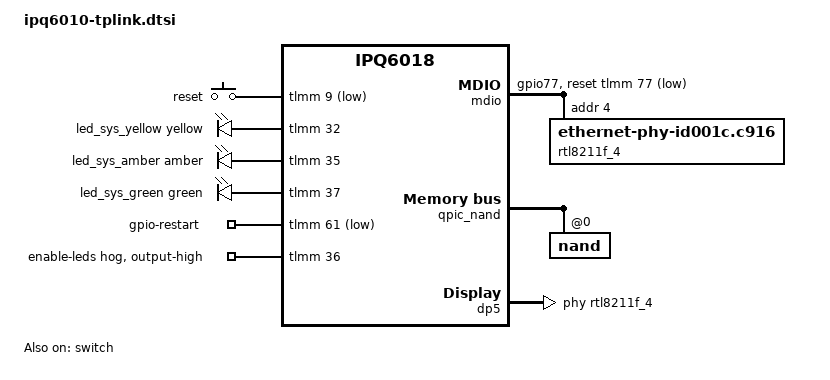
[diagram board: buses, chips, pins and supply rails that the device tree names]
// SPDX-License-Identifier: GPL-2.0-or-later OR MIT

#include "ipq6018.dtsi"
#include "ipq6018-ess.dtsi"
#include "ipq6018-nss.dtsi"
#include "ipq6018-common.dtsi"
#include "ipq6018-cp-cpu.dtsi"

#include <dt-bindings/gpio/gpio.h>
#include <dt-bindings/input/input.h>
#include <dt-bindings/leds/common.h>

/ {
	aliases {
		serial0 = &blsp1_uart3;
		led-boot = &led_sys_green;
		led-failsafe = &led_sys_green;
		led-running = &led_sys_green;
		led-upgrade = &led_sys_green;
	};

	chosen {
		stdout-path = "serial0:115200n8";
		bootargs-append = " root=/dev/ubiblock0_1";
	};

	keys {
		compatible = "gpio-keys";

		reset {
			label = "reset";
			gpios = <&tlmm 9 GPIO_ACTIVE_LOW>;
			linux,code = <KEY_RESTART>;
		};
	};

	leds {
		compatible = "gpio-leds";

		led_sys_yellow: sys-yellow {
			color = <LED_COLOR_ID_YELLOW>;
			function = LED_FUNCTION_STATUS;
			gpios = <&tlmm 32 GPIO_ACTIVE_HIGH>;
		};

		led_sys_amber: sys-amber {
			color = <LED_COLOR_ID_AMBER>;
			function = LED_FUNCTION_STATUS;
			gpios = <&tlmm 35 GPIO_ACTIVE_HIGH>;
		};

		led_sys_green: sys-green {
			color = <LED_COLOR_ID_GREEN>;
			function = LED_FUNCTION_STATUS;
			gpios = <&tlmm 37 GPIO_ACTIVE_HIGH>;
		};
	};

	gpio-restart {
		compatible = "gpio-restart";
		gpios = <&tlmm 61 GPIO_ACTIVE_LOW>;
		open-source;
	};
};

&tlmm {
	phy_reset_pins: phy-reset-pins {
		pins = "gpio77";
		function = "gpio";
		drive-strength = <8>;
		bias-pull-up;
	};

	led_enable {
		gpio-hog;
		output-high;
		gpios = <36 GPIO_ACTIVE_HIGH>;
		line-name = "enable-leds";
	};
};

&mdio {
	status = "okay";

	pinctrl-0 = <&mdio_pins>, <&phy_reset_pins>;
	pinctrl-names = "default";
	reset-gpios = <&tlmm 77 GPIO_ACTIVE_LOW>;

	rtl8211f_4: ethernet-phy@4 {
		compatible = "ethernet-phy-id001c.c916";
		reg = <4>;

		realtek,clkout-disable;
		realtek,aldps-enable;
	};
};

&switch {
	switch_lan_bmp = <ESS_PORT5>;
	switch_mac_mode1 = <MAC_MODE_SGMII_PLUS>;
	status = "okay";

	qcom,port_phyinfo {
		port@5 {
			port_id = <5>;
			phy_address = <4>;
			port_mac_sel = "QGMAC_PORT";
		};
	};
};

&qpic_nand {
	status = "okay";

	nand@0 {
		reg = <0>;

		nand-ecc-strength = <4>;
		nand-ecc-step-size = <512>;
		nand-bus-width = <8>;

		partitions {
			compatible = "qcom,smem-part";
		};
	};
};

&dp5 {
	status = "okay";
	phy-handle = <&rtl8211f_4>;
	label = "lan";
};

&edma {
	status = "okay";
};
